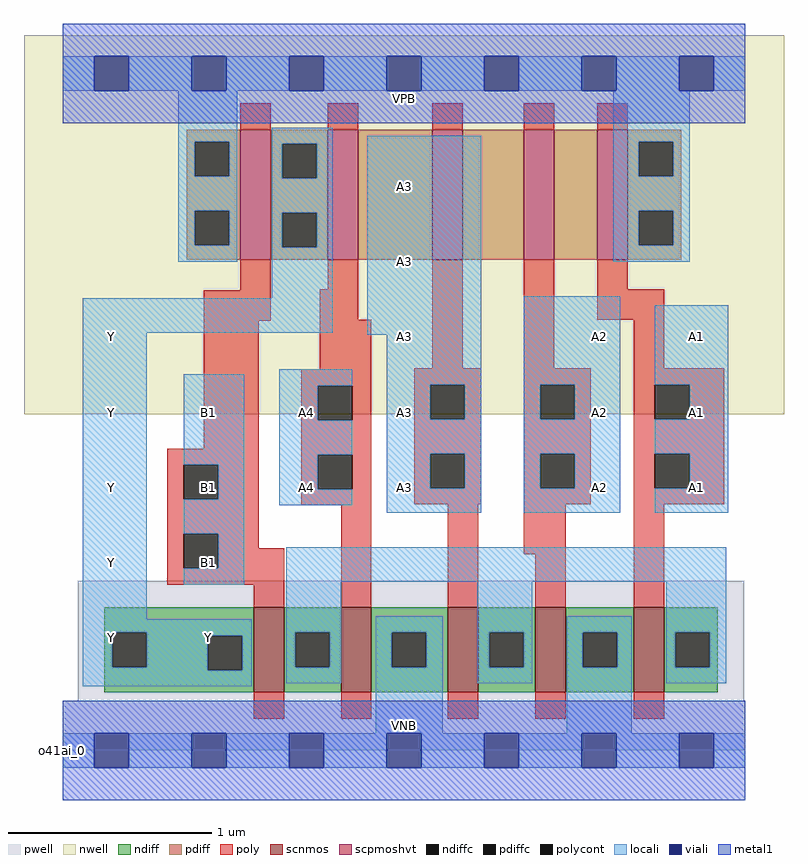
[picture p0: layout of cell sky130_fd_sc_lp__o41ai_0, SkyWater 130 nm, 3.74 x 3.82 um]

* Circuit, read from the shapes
.subckt sky130_fd_sc_lp__o41ai_0 A1 A2 A3 A4 B1 VGND VNB VPB VPWR Y
XM1 n1 B1 Y VNB sky130_fd_pr__nfet_01v8 w=0.42 l=0.15
XM2 VGND A4 n1 VNB sky130_fd_pr__nfet_01v8 w=0.42 l=0.15
XM3 n1 A3 VGND VNB sky130_fd_pr__nfet_01v8 w=0.42 l=0.15
XM4 VGND A2 n1 VNB sky130_fd_pr__nfet_01v8 w=0.42 l=0.15
XM5 n1 A1 VGND VNB sky130_fd_pr__nfet_01v8 w=0.42 l=0.15
XM6 Y B1 VPWR VPB sky130_fd_pr__pfet_01v8_hvt w=0.64 l=0.15
XM7 n2 A4 Y VPB sky130_fd_pr__pfet_01v8_hvt w=0.64 l=0.15
XM8 n3 A3 n2 VPB sky130_fd_pr__pfet_01v8_hvt w=0.64 l=0.15
XM9 n4 A2 n3 VPB sky130_fd_pr__pfet_01v8_hvt w=0.64 l=0.15
XM10 VPWR A1 n4 VPB sky130_fd_pr__pfet_01v8_hvt w=0.64 l=0.15
.ends

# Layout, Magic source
magic
tech sky130A
magscale 1 2
<< nwell >>
rect -38 331 710 704
<< pwell >>
rect 15 49 671 167
rect 0 0 672 49
<< scnmos >>
rect 188 57 218 141
rect 274 57 304 141
rect 379 57 409 141
rect 465 57 495 141
rect 562 57 592 141
<< scpmoshvt >>
rect 175 483 205 611
rect 261 483 291 611
rect 364 483 394 611
rect 454 483 484 611
rect 526 483 556 611
<< ndiff >>
rect 41 116 188 141
rect 41 82 49 116
rect 83 113 188 116
rect 83 82 143 113
rect 41 79 143 82
rect 177 79 188 113
rect 41 57 188 79
rect 218 116 274 141
rect 218 82 229 116
rect 263 82 274 116
rect 218 57 274 82
rect 304 116 379 141
rect 304 82 324 116
rect 358 82 379 116
rect 304 57 379 82
rect 409 116 465 141
rect 409 82 420 116
rect 454 82 465 116
rect 409 57 465 82
rect 495 116 562 141
rect 495 82 512 116
rect 546 82 562 116
rect 495 57 562 82
rect 592 116 645 141
rect 592 82 603 116
rect 637 82 645 116
rect 592 57 645 82
<< pdiff >>
rect 122 599 175 611
rect 122 565 130 599
rect 164 565 175 599
rect 122 531 175 565
rect 122 497 130 531
rect 164 497 175 531
rect 122 483 175 497
rect 205 597 261 611
rect 205 563 216 597
rect 250 563 261 597
rect 205 529 261 563
rect 205 495 216 529
rect 250 495 261 529
rect 205 483 261 495
rect 291 483 364 611
rect 394 483 454 611
rect 484 483 526 611
rect 556 599 609 611
rect 556 565 567 599
rect 601 565 609 599
rect 556 531 609 565
rect 556 497 567 531
rect 601 497 609 531
rect 556 483 609 497
<< ndiffc >>
rect 49 82 83 116
rect 143 79 177 113
rect 229 82 263 116
rect 324 82 358 116
rect 420 82 454 116
rect 512 82 546 116
rect 603 82 637 116
<< pdiffc >>
rect 130 565 164 599
rect 130 497 164 531
rect 216 563 250 597
rect 216 495 250 529
rect 567 565 601 599
rect 567 497 601 531
<< poly >>
rect 175 611 205 637
rect 261 611 291 637
rect 364 611 394 637
rect 454 611 484 637
rect 526 611 556 637
rect 175 453 205 483
rect 261 454 291 483
rect 139 423 205 453
rect 253 424 291 454
rect 139 297 193 423
rect 253 375 304 424
rect 364 376 394 483
rect 454 376 484 483
rect 526 454 556 483
rect 526 424 592 454
rect 562 376 592 424
rect 103 281 193 297
rect 103 247 119 281
rect 153 247 193 281
rect 103 213 193 247
rect 235 359 304 375
rect 235 325 251 359
rect 285 325 304 359
rect 235 291 304 325
rect 235 257 251 291
rect 285 257 304 291
rect 235 241 304 257
rect 346 360 412 376
rect 346 326 362 360
rect 396 326 412 360
rect 346 292 412 326
rect 346 258 362 292
rect 396 258 412 292
rect 346 242 412 258
rect 454 360 520 376
rect 454 326 470 360
rect 504 326 520 360
rect 454 292 520 326
rect 454 258 470 292
rect 504 258 520 292
rect 454 242 520 258
rect 562 360 651 376
rect 562 326 583 360
rect 617 326 651 360
rect 562 292 651 326
rect 562 258 583 292
rect 617 258 651 292
rect 562 242 651 258
rect 103 179 119 213
rect 153 199 193 213
rect 153 179 218 199
rect 103 163 218 179
rect 188 141 218 163
rect 274 141 304 241
rect 379 141 409 242
rect 454 193 495 242
rect 465 141 495 193
rect 562 141 592 242
rect 188 31 218 57
rect 274 31 304 57
rect 379 31 409 57
rect 465 31 495 57
rect 562 31 592 57
<< polycont >>
rect 119 247 153 281
rect 251 325 285 359
rect 251 257 285 291
rect 362 326 396 360
rect 362 258 396 292
rect 470 326 504 360
rect 470 258 504 292
rect 583 326 617 360
rect 583 258 617 292
rect 119 179 153 213
<< locali >>
rect 0 649 31 683
rect 65 649 127 683
rect 161 649 223 683
rect 257 649 319 683
rect 353 649 415 683
rect 449 649 511 683
rect 545 649 607 683
rect 641 649 672 683
rect 114 599 172 649
rect 114 565 130 599
rect 164 565 172 599
rect 114 531 172 565
rect 114 497 130 531
rect 164 497 172 531
rect 114 481 172 497
rect 206 597 266 613
rect 206 563 216 597
rect 250 563 266 597
rect 206 529 266 563
rect 206 495 216 529
rect 250 495 266 529
rect 206 445 266 495
rect 20 411 266 445
rect 20 129 83 411
rect 300 409 412 605
rect 542 599 617 649
rect 542 565 567 599
rect 601 565 617 599
rect 542 531 617 565
rect 542 497 567 531
rect 601 497 617 531
rect 542 481 617 497
rect 119 281 179 370
rect 153 247 179 281
rect 119 213 179 247
rect 213 359 285 375
rect 213 325 251 359
rect 213 291 285 325
rect 213 257 251 291
rect 213 241 285 257
rect 319 360 412 409
rect 319 326 362 360
rect 396 326 412 360
rect 319 292 412 326
rect 319 258 362 292
rect 396 258 412 292
rect 319 234 412 258
rect 454 360 549 447
rect 454 326 470 360
rect 504 326 549 360
rect 454 292 549 326
rect 454 258 470 292
rect 504 258 549 292
rect 454 234 549 258
rect 583 360 655 438
rect 617 326 655 360
rect 583 292 655 326
rect 617 258 655 292
rect 583 234 655 258
rect 153 179 179 213
rect 119 163 179 179
rect 220 166 653 200
rect 20 116 186 129
rect 20 82 49 116
rect 83 113 186 116
rect 83 82 143 113
rect 20 79 143 82
rect 177 79 186 113
rect 20 63 186 79
rect 220 116 274 166
rect 220 82 229 116
rect 263 82 274 116
rect 220 66 274 82
rect 308 116 374 132
rect 308 82 324 116
rect 358 82 374 116
rect 308 17 374 82
rect 408 116 462 166
rect 408 82 420 116
rect 454 82 462 116
rect 408 66 462 82
rect 496 116 560 132
rect 496 82 512 116
rect 546 82 560 116
rect 496 17 560 82
rect 594 116 653 166
rect 594 82 603 116
rect 637 82 653 116
rect 594 66 653 82
rect 0 -17 31 17
rect 65 -17 127 17
rect 161 -17 223 17
rect 257 -17 319 17
rect 353 -17 415 17
rect 449 -17 511 17
rect 545 -17 607 17
rect 641 -17 672 17
<< viali >>
rect 31 649 65 683
rect 127 649 161 683
rect 223 649 257 683
rect 319 649 353 683
rect 415 649 449 683
rect 511 649 545 683
rect 607 649 641 683
rect 31 -17 65 17
rect 127 -17 161 17
rect 223 -17 257 17
rect 319 -17 353 17
rect 415 -17 449 17
rect 511 -17 545 17
rect 607 -17 641 17
<< metal1 >>
rect 0 683 672 715
rect 0 649 31 683
rect 65 649 127 683
rect 161 649 223 683
rect 257 649 319 683
rect 353 649 415 683
rect 449 649 511 683
rect 545 649 607 683
rect 641 649 672 683
rect 0 617 672 649
rect 0 17 672 49
rect 0 -17 31 17
rect 65 -17 127 17
rect 161 -17 223 17
rect 257 -17 319 17
rect 353 -17 415 17
rect 449 -17 511 17
rect 545 -17 607 17
rect 641 -17 672 17
rect 0 -49 672 -17
<< labels >>
flabel pwell s 0 0 672 49 0 FreeSans 200 0 0 0 VNB
port 7 nsew ground bidirectional
flabel nwell s 0 617 672 666 0 FreeSans 200 0 0 0 VPB
port 8 nsew power bidirectional
rlabel comment s 0 0 0 0 4 o41ai_0
flabel metal1 s 0 617 672 666 0 FreeSans 340 0 0 0 VPWR
port 9 nsew power bidirectional
flabel metal1 s 0 0 672 49 0 FreeSans 340 0 0 0 VGND
port 6 nsew ground bidirectional
flabel locali s 607 242 641 276 0 FreeSans 340 0 0 0 A1
port 1 nsew signal input
flabel locali s 607 316 641 350 0 FreeSans 340 0 0 0 A1
port 1 nsew signal input
flabel locali s 607 390 641 424 0 FreeSans 340 0 0 0 A1
port 1 nsew signal input
flabel locali s 511 242 545 276 0 FreeSans 340 0 0 0 A2
port 2 nsew signal input
flabel locali s 511 316 545 350 0 FreeSans 340 0 0 0 A2
port 2 nsew signal input
flabel locali s 511 390 545 424 0 FreeSans 340 0 0 0 A2
port 2 nsew signal input
flabel locali s 319 242 353 276 0 FreeSans 340 0 0 0 A3
port 3 nsew signal input
flabel locali s 319 316 353 350 0 FreeSans 340 0 0 0 A3
port 3 nsew signal input
flabel locali s 319 390 353 424 0 FreeSans 340 0 0 0 A3
port 3 nsew signal input
flabel locali s 319 464 353 498 0 FreeSans 340 0 0 0 A3
port 3 nsew signal input
flabel locali s 223 242 257 276 0 FreeSans 340 0 0 0 A4
port 4 nsew signal input
flabel locali s 223 316 257 350 0 FreeSans 340 0 0 0 A4
port 4 nsew signal input
flabel locali s 31 390 65 424 0 FreeSans 340 0 0 0 Y
port 10 nsew signal output
flabel locali s 127 168 161 202 0 FreeSans 340 0 0 0 B1
port 5 nsew signal input
flabel locali s 127 242 161 276 0 FreeSans 340 0 0 0 B1
port 5 nsew signal input
flabel locali s 127 316 161 350 0 FreeSans 340 0 0 0 B1
port 5 nsew signal input
flabel locali s 319 538 353 572 0 FreeSans 340 0 0 0 A3
port 3 nsew signal input
flabel locali s 127 94 161 128 0 FreeSans 340 0 0 0 Y
port 10 nsew signal output
flabel locali s 31 94 65 128 0 FreeSans 340 0 0 0 Y
port 10 nsew signal output
flabel locali s 31 168 65 202 0 FreeSans 340 0 0 0 Y
port 10 nsew signal output
flabel locali s 31 242 65 276 0 FreeSans 340 0 0 0 Y
port 10 nsew signal output
flabel locali s 31 316 65 350 0 FreeSans 340 0 0 0 Y
port 10 nsew signal output
<< properties >>
string LEFsite unit
string LEFclass CORE
string FIXED_BBOX 0 0 672 666
string GDS_FILE $PDKPATH/libs.ref/sky130_fd_sc_lp/gds/sky130_fd_sc_lp.gds
string LEFsymmetry X Y R90
string GDS_END 6625540
string GDS_START 6617474
<< end >>
